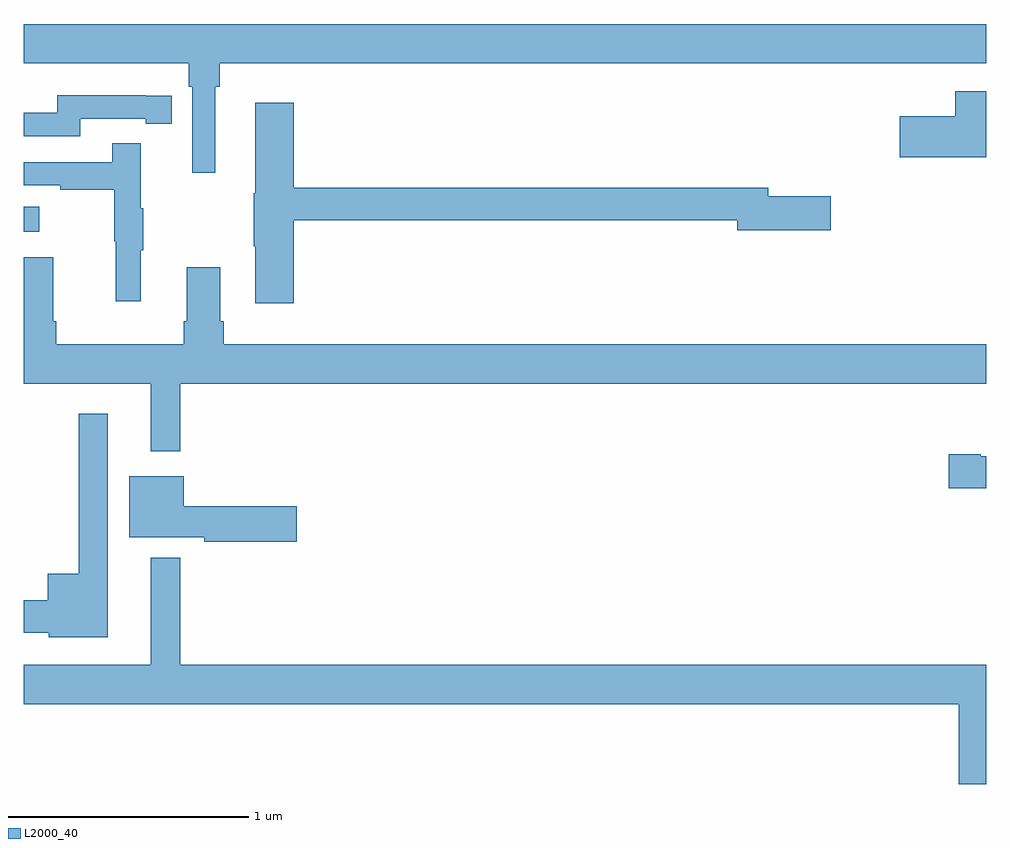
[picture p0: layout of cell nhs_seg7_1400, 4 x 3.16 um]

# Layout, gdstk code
import gdstk
lib = gdstk.Library(unit=1e-6, precision=1e-09)
def R(c, l, rs):  # rectangles x0, y0, x1, y1
    for r in rs: c.add(gdstk.rectangle(r[:2], r[2:], *l))
def P(c, l, *ps):  # polygons
    for p in ps: c.add(gdstk.Polygon(p, *l))
L2000_40 = (2000, 40)

nhs_seg7_1400 = lib.new_cell('nhs_seg7_1400')
R(nhs_seg7_1400, L2000_40, [(207,1022.561,207.064,1022.665)])
P(nhs_seg7_1400, L2000_40, [(207.796,1023.164),(207.815,1023.164),(207.815,1023.26),(211,1023.26),(211,1023.424),(207,1023.424),(207,1023.26),(207.686,1023.26),(207.686,1023.164),(207.699,1023.164),(207.699,1022.805),(207.796,1022.805)],
  [(211,1023.145),(210.872,1023.145),(210.872,1023.04),(210.642,1023.04),(210.642,1022.87),(211,1022.87)],
  [(207.234,1023.03),(207.506,1023.03),(207.506,1023.01),(207.614,1023.01),(207.614,1023.126),(207.506,1023.126),(207.506,1023.127),(207.138,1023.127),(207.138,1023.054),(207,1023.054),(207,1022.958),(207.234,1022.958)],
  [(208.121,1022.608),(209.966,1022.608),(209.966,1022.566),(210.355,1022.566),(210.355,1022.708),(210.094,1022.708),(210.094,1022.744),(208.121,1022.744),(208.121,1023.097),(207.962,1023.097),(207.962,1022.721),(207.955,1022.721),(207.955,1022.5),(207.962,1022.5),(207.962,1022.262),(208.121,1022.262)],
  [(207.485,1022.483),(207.496,1022.483),(207.496,1022.657),(207.485,1022.657),(207.485,1022.929),(207.367,1022.929),(207.367,1022.85),(207,1022.85),(207,1022.754),(207.151,1022.754),(207.151,1022.734),(207.375,1022.734),(207.375,1022.52),(207.382,1022.52),(207.382,1022.271),(207.485,1022.271)],
  [(207.649,1021.928),(211,1021.928),(211,1022.092),(207.83,1022.092),(207.83,1022.188),(207.817,1022.188),(207.817,1022.413),(207.677,1022.413),(207.677,1022.188),(207.665,1022.188),(207.665,1022.092),(207.134,1022.092),(207.134,1022.188),(207.121,1022.188),(207.121,1022.455),(207,1022.455),(207,1021.928),(207.527,1021.928),(207.527,1021.647),(207.649,1021.647)],
  [(207.349,1021.804),(207.228,1021.804),(207.228,1021.138),(207.098,1021.138),(207.098,1021.028),(207,1021.028),(207,1020.893),(207.102,1020.893),(207.102,1020.875),(207.349,1020.875)],
  [(211,1021.627),(210.978,1021.627),(210.978,1021.635),(210.846,1021.635),(210.846,1021.493),(211,1021.493)],
  [(208.135,1021.418),(207.664,1021.418),(207.664,1021.543),(207.437,1021.543),(207.437,1021.289),(207.75,1021.289),(207.75,1021.271),(208.135,1021.271)],
  [(211,1020.76),(207.649,1020.76),(207.649,1021.204),(207.527,1021.204),(207.527,1020.76),(207,1020.76),(207,1020.596),(210.886,1020.596),(210.886,1020.264),(211,1020.264)])

lib.write_gds('nhs_seg7_1400.gds')
